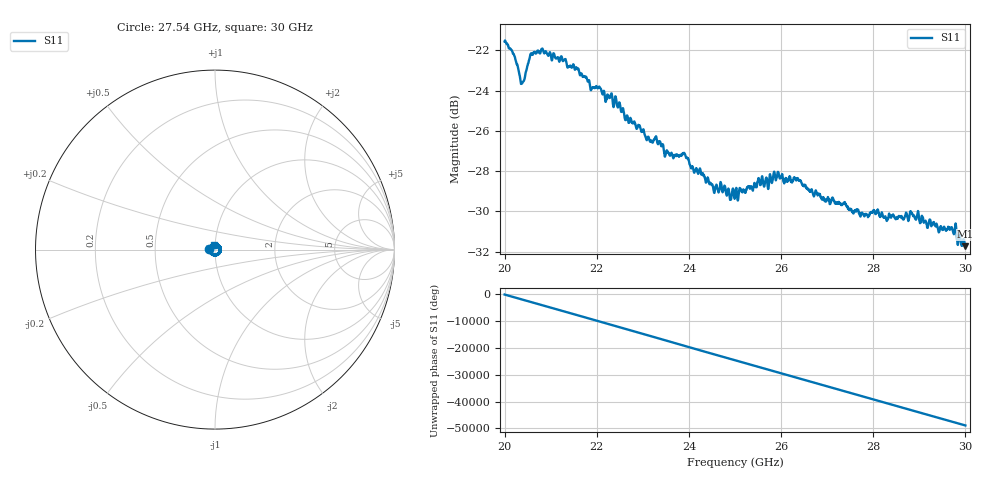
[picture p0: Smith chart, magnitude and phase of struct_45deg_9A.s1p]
#  HZ  S  RI  R  50.00
! Rohde & Schwarz ZVA40 4Ports - Version 3.90 - 1145.1110k42 SN: 100403
! Date: 2023-09-28 11:22:01
! Measurement: S12
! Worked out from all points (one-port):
!   5001 points, 20 GHz to 30 GHz, reference 50 ohm
!   lowest |S11| = -31.7 dB at 30 GHz (marker M1), VSWR 1.05, Z = 49.8 + j2.58 ohm
!   |S11| at or under -10 dB: start of sweep to end of sweep
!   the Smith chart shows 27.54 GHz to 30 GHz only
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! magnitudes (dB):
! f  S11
! 20 GHz  -21.6
! 20.18 GHz  -22.2
! 20.38 GHz  -23.6
! 20.61 GHz  -22.2
! 20.84 GHz  -22.1
! 21.25 GHz  -22.4
! 21.58 GHz  -22.9
! 21.9 GHz  -23.9
! 22.04 GHz  -23.9
! 22.5 GHz  -24.6
! 22.65 GHz  -25.2
! 23.12 GHz  -26.3
! 23.75 GHz  -27.2
! 23.91 GHz  -27.1
! 24.08 GHz  -27.8
! 24.28 GHz  -28.2
! 24.52 GHz  -28.8
! 25 GHz  -29.3
! 25.89 GHz  -28.5
! 26.25 GHz  -28.5
! 27.5 GHz  -29.9
! 27.85 GHz  -30.1
! 28.06 GHz  -30.1
! 28.28 GHz  -30.3
! 28.75 GHz  -30.3
! 29.75 GHz  -31.1
! 30 GHz  -31.7
! 30 GHz  -31.7
